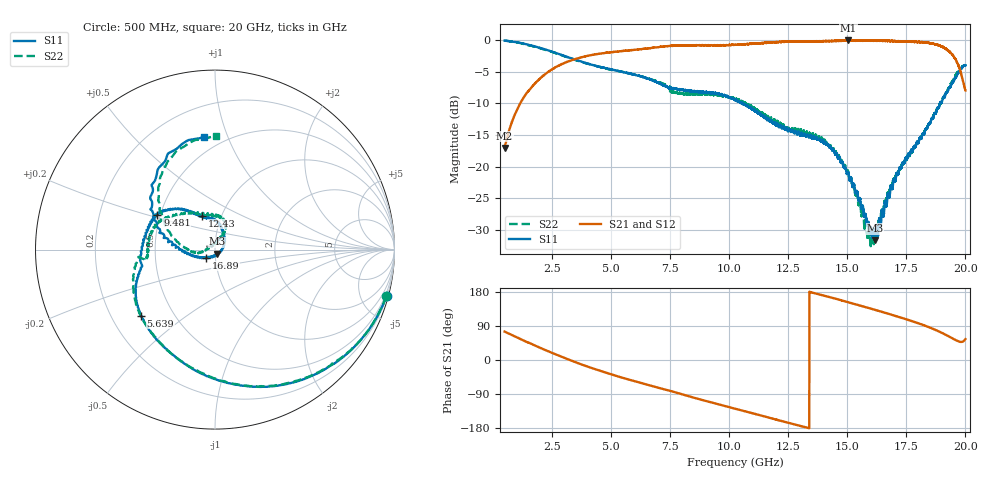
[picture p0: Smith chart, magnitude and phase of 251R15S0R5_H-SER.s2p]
!{251R15S0R5}
!Johanson Technology Inc.
!www.johansontechnology.com
!Test Board Conditions:
!Substrate Type  RO4350B
!Substrate Thickness  20 mil
!Substrate Dk  3.66
!TL Type: GCPW
!TL Trace Width  34 mil
!TL Gap  10 mil
!Electrode orientation  Horizontal
!DUT TOPOLOGY	SERIES
!Mounting Pad LxW  26x52 mil
! Created Thu Mar 12 16:28:34 2020
# mhz S ma R 50
! 2 Port Network Data from SP1.SP block
! freq  magS11  angS11  magS21  angS21  magS12  angS12  magS22  angS22
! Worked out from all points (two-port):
!   19501 points, 500 MHz to 20 GHz, reference 50 ohm
!   highest |S21| = -0.07 dB at 15.05 GHz (marker M1); lowest = -17.0 dB at 500 MHz (marker M2)
!   |S21| within 3 dB of the highest: 3.432982 GHz to 3.435228 GHz (2.247 MHz wide, 0.0654 % of centre); 3.437 GHz to 19.59 GHz (16.15 GHz wide, 140 % of centre)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
!   lowest |S11| = -31.6 dB at 16.17 GHz (marker M3), VSWR 1.05, Z = 51.3 - j2.34 ohm
!   |S11| at or under -10 dB: 10.56383 GHz to 10.56782 GHz (3.986 MHz wide, 0.0377 % of centre); 10.56828 GHz to 10.57298 GHz (4.705 MHz wide, 0.0445 % of centre); 10.57 GHz to 18.92 GHz (8.35 GHz wide, 56.6 % of centre)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
!   |S22| runs from -32.5 to -0.1 dB; largest |S21 - S12| = 0.02
!   S11 on the Smith chart (normalised r, x): 500 MHz: 0.30, -7.60; 5.639 GHz: 0.33, -0.35; 9.481 GHz: 0.48, +0.22; 12.43 GHz: 0.81, +0.32; 16.89 GHz: 0.90, -0.08; 20 GHz: 0.39, +0.82
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500  0.9899 -15.0  0.1409 74.9  0.1413 75.0  0.9887 -15.2
1134  0.9505 -33.6  0.3096 56.4  0.3095 56.1  0.9492 -34.2
2012  0.8653 -58.1  0.4998 31.9  0.5005 32.0  0.8605 -58.3
2932  0.7601 -81.6  0.6464 8.2  0.647 8.0  0.7573 -81.5
3750  0.6748 -100.9  0.7312 -11.6  0.7305 -11.6  0.672 -101.0
5639  0.5523 -138.2  0.824 -49.5  0.8243 -49.5  0.5523 -138.9
7000  0.4615 -159.9  0.8784 -73.1  0.8797 -73.0  0.4684 -165.0
8172  0.4017 172.1  0.9041 -93.4  0.9063 -93.3  0.3759 -176.5
9481  0.3753 148.6  0.9081 -115.7  0.911 -115.9  0.3655 165.6
10250  0.3364 138.4  0.9194 -128.5  0.9189 -128.7  0.3421 151.7
12427  0.2022 110.6  0.9698 -164.3  0.9686 -164.5  0.2106 105.2
13500  0.1678 94.8  0.9752 178.2  0.9733 178.2  0.1776 77.9
14366  0.135 77.1  0.9822 164.2  0.9814 164.0  0.1392 63.9
15053  0.08914 53.5  0.9917 152.3  0.9862 152.1  0.08839 64.6
15924  0.03285 -13.2  0.9856 136.9  0.9872 136.7  0.03255 106.3
16174  0.02622 -60.5  0.9884 132.4  0.9862 132.3  0.03153 142.4
16750  0.0605 -127.8  0.9856 121.9  0.9815 121.5  0.06177 -170.9
16893  0.06683 -137.6  0.9837 119.0  0.9769 119.0  0.07177 -170.0
17904  0.1459 -170.6  0.9684 99.3  0.9608 98.6  0.1477 -179.7
18636  0.242 170.7  0.9335 82.0  0.9266 81.5  0.2503 162.6
19517  0.4791 136.1  0.736 54.8  0.7318 55.8  0.5037 127.3
20000  0.6315 95.8  0.3987 55.1  0.4 55.2  0.6302 89.7
